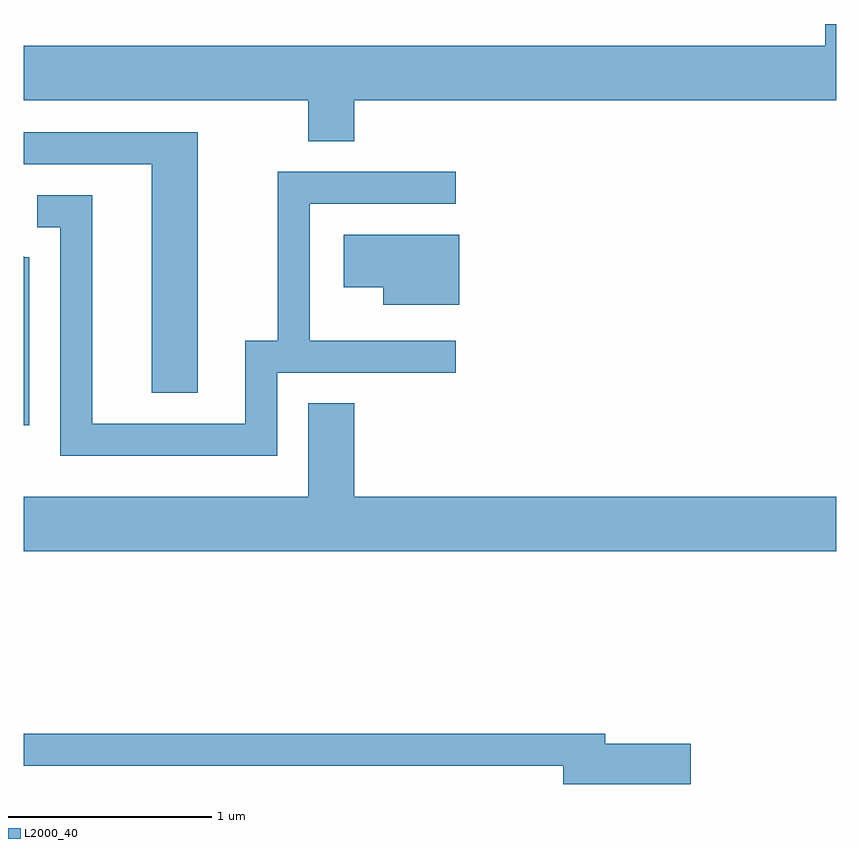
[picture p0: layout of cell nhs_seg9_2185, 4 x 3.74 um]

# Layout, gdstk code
import gdstk
lib = gdstk.Library(unit=1e-6, precision=1e-09)
def P(c, l, *ps):  # polygons
    for p in ps: c.add(gdstk.Polygon(p, *l))
L2000_40 = (2000, 40)

nhs_seg9_2185 = lib.new_cell('nhs_seg9_2185')
P(nhs_seg9_2185, L2000_40, [(251.239,1974.056),(253.611,1974.056),(253.611,1974.432),(253.556,1974.432),(253.556,1974.324),(249.611,1974.324),(249.611,1974.056),(251.011,1974.056),(251.011,1973.856),(251.239,1973.856)],
  [(250.469,1973.899),(249.611,1973.899),(249.611,1973.741),(250.241,1973.741),(250.241,1972.616),(250.469,1972.616)],
  [(250.859,1972.716),(251.738,1972.716),(251.738,1972.874),(251.019,1972.874),(251.019,1973.546),(251.738,1973.546),(251.738,1973.704),(250.861,1973.704),(250.861,1972.874),(250.701,1972.874),(250.701,1972.464),(249.949,1972.464),(249.949,1973.589),(249.678,1973.589),(249.678,1973.431),(249.791,1973.431),(249.791,1972.306),(250.859,1972.306)],
  [(251.754,1973.394),(251.186,1973.394),(251.186,1973.136),(251.381,1973.136),(251.381,1973.051),(251.754,1973.051)],
  [(249.639,1973.284),(249.617,1973.284),(249.611,1973.29),(249.611,1972.456),(249.639,1972.456)],
  [(253.611,1972.104),(251.239,1972.104),(251.239,1972.564),(251.011,1972.564),(251.011,1972.104),(249.611,1972.104),(249.611,1971.836),(253.611,1971.836)],
  [(252.894,1970.889),(252.474,1970.889),(252.474,1970.939),(249.611,1970.939),(249.611,1970.781),(252.266,1970.781),(252.266,1970.691),(252.894,1970.691)])

lib.write_gds('nhs_seg9_2185.gds')
